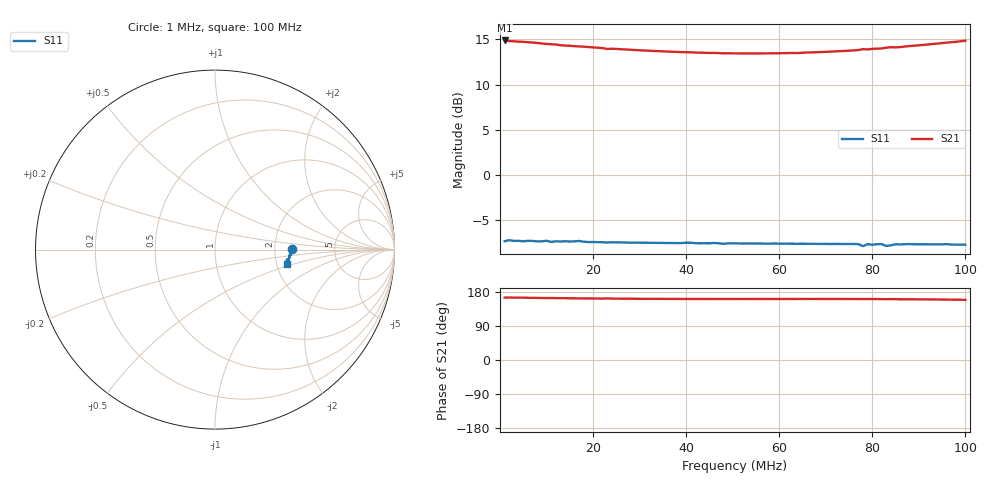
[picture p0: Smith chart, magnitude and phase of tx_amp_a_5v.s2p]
# HZ S RI R 50
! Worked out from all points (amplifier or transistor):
!   100 points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, 1 MHz to 100 MHz, reference 50 ohm
!   highest |S21| = 14.9 dB at 1 MHz (marker M1)
!   |S21| within 3 dB of that: start of sweep to end of sweep
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1000001  0.4293 0.00152  -5.353 1.473  0 0  0 0
2000001  0.4352 -0.000468  -5.32 1.425  0 0  0 0
3000001  0.4312 -0.000521  -5.296 1.466  0 0  0 0
5000001  0.4289 -0.00837  -5.262 1.45  0 0  0 0
1e7  0.432 -0.0073  -5.091 1.515  0 0  0 0
1.3e7  0.4275 -0.0138  -5.002 1.508  0 0  0 0
1.8e7  0.4265 -0.0144  -4.892 1.541  0 0  0 0
2.2e7  0.4237 -0.0146  -4.797 1.547  0 0  0 0
2.3e7  0.4211 -0.0303  -4.75 1.501  0 0  0 0
2.5e7  0.4229 -0.0166  -4.737 1.55  0 0  0 0
3.4e7  0.4197 -0.0217  -4.59 1.551  0 0  0 0
5.1e7  0.4162 -0.0343  -4.45 1.535  0 0  0 0
6.4e7  0.4129 -0.0446  -4.473 1.529  0 0  0 0
6.7e7  0.4129 -0.0471  -4.511 1.543  0 0  0 0
7.6e7  0.4108 -0.0545  -4.624 1.597  0 0  0 0
7.8e7  0.3992 -0.0565  -4.694 1.636  0 0  0 0
7.9e7  0.4101 -0.0577  -4.676 1.624  0 0  0 0
8.3e7  0.4002 -0.0576  -4.771 1.699  0 0  0 0
8.4e7  0.4012 -0.0706  -4.811 1.674  0 0  0 0
8.6e7  0.4064 -0.0676  -4.802 1.722  0 0  0 0
9.1e7  0.4072 -0.0695  -4.929 1.79  0 0  0 0
1e8  0.4036 -0.0779  -5.156 2.001  0 0  0 0
